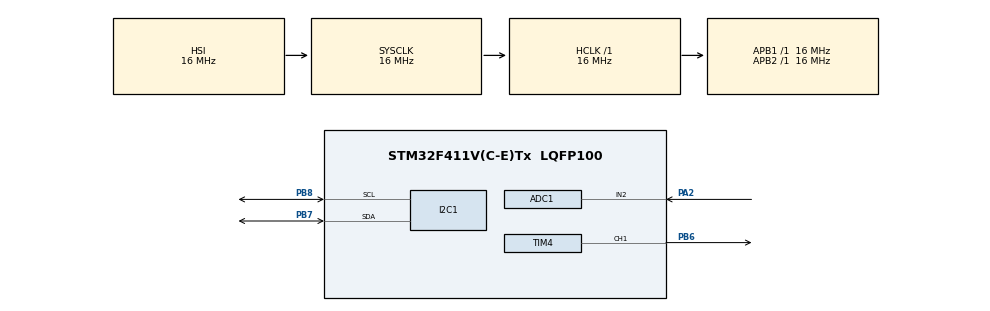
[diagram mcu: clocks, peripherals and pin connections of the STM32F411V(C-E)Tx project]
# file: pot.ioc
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ADC1.Channel-0\#ChannelRegularConversion=ADC_CHANNEL_2
ADC1.ClockPrescaler=ADC_CLOCK_SYNC_PCLK_DIV8
ADC1.ContinuousConvMode=ENABLE
ADC1.NbrOfConversion=1
ADC1.NbrOfConversionFlag=1
ADC1.Resolution=ADC_RESOLUTION_8B
ADC1.SamplingTime-0\#ChannelRegularConversion=ADC_SAMPLETIME_56CYCLES
ADC1.ScanConvMode=DISABLE
ADC1.master=1
I2C1.I2C_Mode=I2C_Fast
Mcu.Family=STM32F4
Mcu.Name=STM32F411V(C-E)Tx
Mcu.Package=LQFP100
NVIC.PriorityGroup=NVIC_PRIORITYGROUP_0
PA2.Signal=ADCx_IN2
PB6.GPIO_PuPd=GPIO_PULLUP
PB6.Signal=S_TIM4_CH1
PB7.Mode=I2C
PB7.Signal=I2C1_SDA
PB8.Mode=I2C
PB8.Signal=I2C1_SCL
PH0\ -\ OSC_IN.Mode=HSE-External-Oscillator
PH0\ -\ OSC_IN.Signal=RCC_OSC_IN
PH1\ -\ OSC_OUT.Mode=HSE-External-Oscillator
PH1\ -\ OSC_OUT.Signal=RCC_OSC_OUT
ProjectManager.HeapSize=0x200
ProjectManager.StackSize=0x400
ProjectManager.TargetToolchain=MDK-ARM V5
RCC.48MHZClocksFreq_Value=12500000
RCC.AHBFreq_Value=16000000
RCC.APB1Freq_Value=16000000
RCC.APB1TimFreq_Value=16000000
RCC.APB2Freq_Value=16000000
RCC.APB2TimFreq_Value=16000000
RCC.CortexFreq_Value=16000000
RCC.HCLKFreq_Value=16000000
RCC.HSE_VALUE=8000000
RCC.HSI_VALUE=16000000
RCC.LSE_VALUE=32768
RCC.PLLI2SM=5
RCC.PLLI2SN=200
RCC.PLLM=8
RCC.PLLN=50
RCC.PLLQ=8
RCC.SYSCLKFreq_VALUE=16000000
RCC.VCOOutputFreq_Value=100000000
SH.ADCx_IN2.0=ADC1_IN2,IN2
SH.S_TIM4_CH1.0=TIM4_CH1,PWM Generation1 CH1
TIM4.Channel-PWM\ Generation1\ CH1=TIM_CHANNEL_1
TIM4.Period=19999
TIM4.Prescaler=16
VP_TIM4_VS_ClockSourceINT.Mode=Internal
board=32F411EDISCOVERY

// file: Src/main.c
/* USER CODE BEGIN Header */
/**
  ******************************************************************************
  * @file           : main.c
  * @brief          : Main program body
  ******************************************************************************
  ** This notice applies to any and all portions of this file
  * that are not between comment pairs USER CODE BEGIN and
  * USER CODE END. Other portions of this file, whether
  * inserted by the user or by software development tools
  * are owned by their respective copyright owners.
  *
  * COPYRIGHT(c) 2019 STMicroelectronics
  *
  * Redistribution and use in source and binary forms, with or without modification,
  * are permitted provided that the following conditions are met:
  *   1. Redistributions of source code must retain the above copyright notice,
  *      this list of conditions and the following disclaimer.
  *   2. Redistributions in binary form must reproduce the above copyright notice,
  *      this list of conditions and the following disclaimer in the documentation
  *      and/or other materials provided with the distribution.
  *   3. Neither the name of STMicroelectronics nor the names of its contributors
  *      may be used to endorse or promote products derived from this software
  *      without specific prior written permission.
  *
  * THIS SOFTWARE IS PROVIDED BY THE COPYRIGHT HOLDERS AND CONTRIBUTORS "AS IS"
  * AND ANY EXPRESS OR IMPLIED WARRANTIES, INCLUDING, BUT NOT LIMITED TO, THE
  * IMPLIED WARRANTIES OF MERCHANTABILITY AND FITNESS FOR A PARTICULAR PURPOSE ARE
  * DISCLAIMED. IN NO EVENT SHALL THE COPYRIGHT HOLDER OR CONTRIBUTORS BE LIABLE
  * FOR ANY DIRECT, INDIRECT, INCIDENTAL, SPECIAL, EXEMPLARY, OR CONSEQUENTIAL
  * DAMAGES (INCLUDING, BUT NOT LIMITED TO, PROCUREMENT OF SUBSTITUTE GOODS OR
  * SERVICES; LOSS OF USE, DATA, OR PROFITS; OR BUSINESS INTERRUPTION) HOWEVER
  * CAUSED AND ON ANY THEORY OF LIABILITY, WHETHER IN CONTRACT, STRICT LIABILITY,
  * OR TORT (INCLUDING NEGLIGENCE OR OTHERWISE) ARISING IN ANY WAY OUT OF THE USE
  * OF THIS SOFTWARE, EVEN IF ADVISED OF THE POSSIBILITY OF SUCH DAMAGE.
  *
  ******************************************************************************
  */
/* USER CODE END Header */

#include "main.h"

/* USER CODE BEGIN Includes */
#include "ssd1306.h"
#include <stdlib.h>
/* USER CODE END Includes */

ADC_HandleTypeDef hadc1;

I2C_HandleTypeDef hi2c1;

TIM_HandleTypeDef htim4;

void SystemClock_Config(void);
static void MX_GPIO_Init(void);
static void MX_ADC1_Init(void);
static void MX_TIM4_Init(void);
static void MX_I2C1_Init(void);

/* USER CODE BEGIN 0 */
uint8_t ADC_val;
uint8_t check;
char oled_string[3];
/* USER CODE END 0 */

int main(void)
{

  /* MCU Configuration--------------------------------------------------------*/

  /* Reset of all peripherals, Initializes the Flash interface and the Systick. */
  HAL_Init();

  /* Configure the system clock */
  SystemClock_Config();

  /* Initialize all configured peripherals */
  MX_GPIO_Init();
  MX_ADC1_Init();
  MX_TIM4_Init();
  MX_I2C1_Init();
  /* USER CODE BEGIN 2 */
  HAL_ADC_Start(&hadc1);
	HAL_TIM_PWM_Start (&htim4,TIM_CHANNEL_1); 	//
	TIM4->CCR1 = 900;		// INITIAL POSITION FOR THE SERVOS
	HAL_Delay(1000);

	 SSD1306_Fill (0); //color negro

  /* USER CODE END 2 */

  /* Infinite loop */
  while (1)
  {

    /* USER CODE BEGIN 3 */
	  ADC_val = HAL_ADC_GetValue(&hadc1);
		for (int i =0; TIM4->CCR1 < 1200; i++)
		{
		TIM4->CCR1+=5;
		HAL_Delay(10);
		}
		TIM4->CCR1 = 800;

		sprintf(oled_string, "%d", ADC_val);

		check = SSD1306_Init ();
    SSD1306_UpdateScreen(); //muestra los cambios en el display
    SSD1306_GotoXY (40,10); //posicion 10,10
    SSD1306_Puts (oled_string, &Font_11x18, 1);
    SSD1306_UpdateScreen(); //display
  /* USER CODE END 3 */
}
	}

void SystemClock_Config(void)
{
  RCC_OscInitTypeDef RCC_OscInitStruct = {0};
  RCC_ClkInitTypeDef RCC_ClkInitStruct = {0};

  /**Configure the main internal regulator output voltage
  */
  __HAL_RCC_PWR_CLK_ENABLE();
  __HAL_PWR_VOLTAGESCALING_CONFIG(PWR_REGULATOR_VOLTAGE_SCALE1);
  /**Initializes the CPU, AHB and APB busses clocks
  */
  RCC_OscInitStruct.OscillatorType = RCC_OSCILLATORTYPE_HSI;
  RCC_OscInitStruct.HSIState = RCC_HSI_ON;
  RCC_OscInitStruct.HSICalibrationValue = RCC_HSICALIBRATION_DEFAULT;
  RCC_OscInitStruct.PLL.PLLState = RCC_PLL_NONE;
  if (HAL_RCC_OscConfig(&RCC_OscInitStruct) != HAL_OK)
  {
    Error_Handler();
  }
  /**Initializes the CPU, AHB and APB busses clocks
  */
  RCC_ClkInitStruct.ClockType = RCC_CLOCKTYPE_HCLK|RCC_CLOCKTYPE_SYSCLK
                              |RCC_CLOCKTYPE_PCLK1|RCC_CLOCKTYPE_PCLK2;
  RCC_ClkInitStruct.SYSCLKSource = RCC_SYSCLKSOURCE_HSI;
  RCC_ClkInitStruct.AHBCLKDivider = RCC_SYSCLK_DIV1;
  RCC_ClkInitStruct.APB1CLKDivider = RCC_HCLK_DIV1;
  RCC_ClkInitStruct.APB2CLKDivider = RCC_HCLK_DIV1;

  if (HAL_RCC_ClockConfig(&RCC_ClkInitStruct, FLASH_LATENCY_0) != HAL_OK)
  {
    Error_Handler();
  }
}

static void MX_ADC1_Init(void)
{

  ADC_ChannelConfTypeDef sConfig = {0};

  /**Configure the global features of the ADC (Clock, Resolution, Data Alignment and number of conversion)
  */
  hadc1.Instance = ADC1;
  hadc1.Init.ClockPrescaler = ADC_CLOCK_SYNC_PCLK_DIV8;
  hadc1.Init.Resolution = ADC_RESOLUTION_8B;
  hadc1.Init.ScanConvMode = DISABLE;
  hadc1.Init.ContinuousConvMode = ENABLE;
  hadc1.Init.DiscontinuousConvMode = DISABLE;
  hadc1.Init.ExternalTrigConvEdge = ADC_EXTERNALTRIGCONVEDGE_NONE;
  hadc1.Init.ExternalTrigConv = ADC_SOFTWARE_START;
  hadc1.Init.DataAlign = ADC_DATAALIGN_RIGHT;
  hadc1.Init.NbrOfConversion = 1;
  hadc1.Init.DMAContinuousRequests = DISABLE;
  hadc1.Init.EOCSelection = ADC_EOC_SINGLE_CONV;
  if (HAL_ADC_Init(&hadc1) != HAL_OK)
  {
    Error_Handler();
  }
  /**Configure for the selected ADC regular channel its corresponding rank in the sequencer and its sample time.
  */
  sConfig.Channel = ADC_CHANNEL_2;
  sConfig.Rank = 1;
  sConfig.SamplingTime = ADC_SAMPLETIME_56CYCLES;
  if (HAL_ADC_ConfigChannel(&hadc1, &sConfig) != HAL_OK)
  {
    Error_Handler();
  }

}

static void MX_I2C1_Init(void)
{

  hi2c1.Instance = I2C1;
  hi2c1.Init.ClockSpeed = 400000;
  hi2c1.Init.DutyCycle = I2C_DUTYCYCLE_2;
  hi2c1.Init.OwnAddress1 = 0;
  hi2c1.Init.AddressingMode = I2C_ADDRESSINGMODE_7BIT;
  hi2c1.Init.DualAddressMode = I2C_DUALADDRESS_DISABLE;
  hi2c1.Init.OwnAddress2 = 0;
  hi2c1.Init.GeneralCallMode = I2C_GENERALCALL_DISABLE;
  hi2c1.Init.NoStretchMode = I2C_NOSTRETCH_DISABLE;
  if (HAL_I2C_Init(&hi2c1) != HAL_OK)
  {
    Error_Handler();
  }

}

static void MX_TIM4_Init(void)
{

  TIM_ClockConfigTypeDef sClockSourceConfig = {0};
  TIM_MasterConfigTypeDef sMasterConfig = {0};
  TIM_OC_InitTypeDef sConfigOC = {0};

  htim4.Instance = TIM4;
  htim4.Init.Prescaler = 16;
  htim4.Init.CounterMode = TIM_COUNTERMODE_UP;
  htim4.Init.Period = 19999;
  htim4.Init.ClockDivision = TIM_CLOCKDIVISION_DIV1;
  if (HAL_TIM_Base_Init(&htim4) != HAL_OK)
  {
    Error_Handler();
  }
  sClockSourceConfig.ClockSource = TIM_CLOCKSOURCE_INTERNAL;
  if (HAL_TIM_ConfigClockSource(&htim4, &sClockSourceConfig) != HAL_OK)
  {
    Error_Handler();
  }
  if (HAL_TIM_PWM_Init(&htim4) != HAL_OK)
  {
    Error_Handler();
  }
  sMasterConfig.MasterOutputTrigger = TIM_TRGO_RESET;
  sMasterConfig.MasterSlaveMode = TIM_MASTERSLAVEMODE_DISABLE;
  if (HAL_TIMEx_MasterConfigSynchronization(&htim4, &sMasterConfig) != HAL_OK)
  {
    Error_Handler();
  }
  sConfigOC.OCMode = TIM_OCMODE_PWM1;
  sConfigOC.Pulse = 0;
  sConfigOC.OCPolarity = TIM_OCPOLARITY_HIGH;
  sConfigOC.OCFastMode = TIM_OCFAST_DISABLE;
  if (HAL_TIM_PWM_ConfigChannel(&htim4, &sConfigOC, TIM_CHANNEL_1) != HAL_OK)
  {
    Error_Handler();
  }
  HAL_TIM_MspPostInit(&htim4);

}

static void MX_GPIO_Init(void)
{

  /* GPIO Ports Clock Enable */
  __HAL_RCC_GPIOH_CLK_ENABLE();
  __HAL_RCC_GPIOA_CLK_ENABLE();
  __HAL_RCC_GPIOB_CLK_ENABLE();

}

void Error_Handler(void)
{
}

/************************ (C) COPYRIGHT STMicroelectronics *****END OF FILE****/
